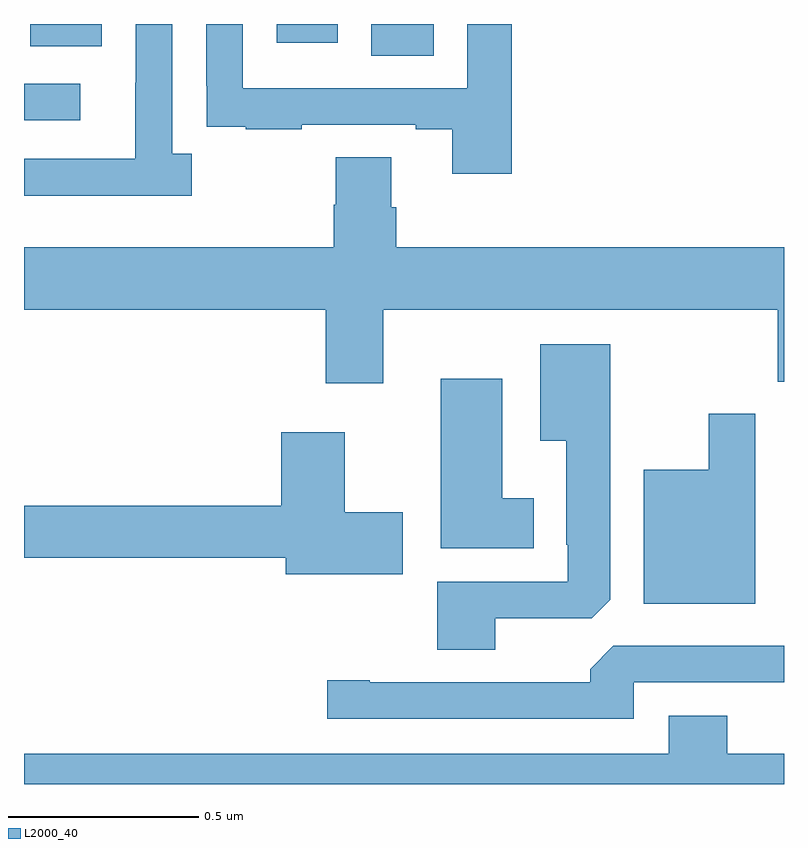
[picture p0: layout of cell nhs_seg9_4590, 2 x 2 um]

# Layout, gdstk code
import gdstk
lib = gdstk.Library(unit=1e-6, precision=1e-09)
def R(c, l, rs):  # rectangles x0, y0, x1, y1
    for r in rs: c.add(gdstk.rectangle(r[:2], r[2:], *l))
def P(c, l, *ps):  # polygons
    for p in ps: c.add(gdstk.Polygon(p, *l))
L2000_40 = (2000, 40)

nhs_seg9_4590 = lib.new_cell('nhs_seg9_4590')
R(nhs_seg9_4590, L2000_40, [(168,1202.247,168.148,1202.343), (168.914,1202.416,169.078,1202.5), (168.017,1202.441,168.205,1202.5), (168.665,1202.451,168.826,1202.5)])
P(nhs_seg9_4590, L2000_40, [(169.283,1202.5),(169.167,1202.5),(169.167,1202.331),(168.576,1202.331),(168.576,1202.5),(168.48,1202.5),(168.48,1202.338),(168.481,1202.338),(168.481,1202.229),(168.583,1202.229),(168.583,1202.223),(168.731,1202.223),(168.731,1202.235),(169.031,1202.235),(169.031,1202.223),(169.127,1202.223),(169.127,1202.106),(169.283,1202.106)],
  [(168.442,1202.158),(168.39,1202.158),(168.39,1202.5),(168.294,1202.5),(168.294,1202.345),(168.293,1202.345),(168.293,1202.145),(168,1202.145),(168,1202.048),(168.442,1202.048)],
  [(168.946,1201.748),(169.984,1201.748),(169.984,1201.559),(170,1201.559),(170,1201.912),(168.98,1201.912),(168.98,1202.018),(168.967,1202.018),(168.967,1202.15),(168.82,1202.15),(168.82,1202.025),(168.815,1202.025),(168.815,1201.912),(168,1201.912),(168,1201.748),(168.794,1201.748),(168.794,1201.554),(168.946,1201.554)],
  [(169.24,1200.936),(169.494,1200.936),(169.543,1200.985),(169.543,1201.657),(169.358,1201.657),(169.358,1201.403),(169.427,1201.403),(169.427,1201.129),(169.431,1201.129),(169.431,1201.032),(169.088,1201.032),(169.088,1200.853),(169.24,1200.853)],
  [(169.342,1201.252),(169.258,1201.252),(169.258,1201.567),(169.097,1201.567),(169.097,1201.121),(169.342,1201.121)],
  [(169.924,1201.474),(169.802,1201.474),(169.802,1201.327),(169.631,1201.327),(169.631,1200.974),(169.924,1200.974)],
  [(168.997,1201.215),(168.844,1201.215),(168.844,1201.426),(168.677,1201.426),(168.677,1201.232),(168,1201.232),(168,1201.096),(168.689,1201.096),(168.689,1201.052),(168.997,1201.052)],
  [(169.605,1200.768),(170,1200.768),(170,1200.864),(169.551,1200.864),(169.49,1200.802),(169.49,1200.768),(168.91,1200.768),(168.91,1200.773),(168.798,1200.773),(168.798,1200.672),(169.605,1200.672)],
  [(170,1200.58),(169.85,1200.58),(169.85,1200.679),(169.697,1200.679),(169.697,1200.58),(168,1200.58),(168,1200.5),(170,1200.5)])

lib.write_gds('nhs_seg9_4590.gds')
